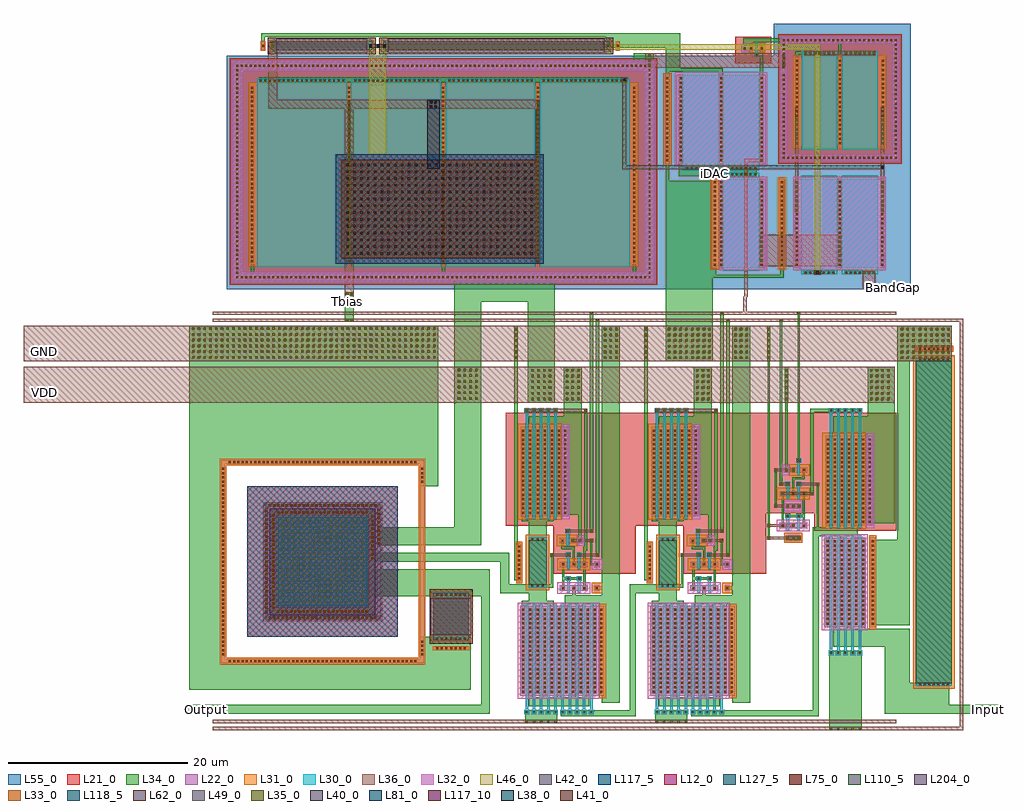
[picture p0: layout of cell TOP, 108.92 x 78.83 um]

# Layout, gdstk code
from math import pi, radians
import gdstk
lib = gdstk.Library(unit=1e-6, precision=1e-09)
def R(c, l, rs):  # rectangles x0, y0, x1, y1
    for r in rs: c.add(gdstk.rectangle(r[:2], r[2:], *l))
def A(c, l, x, y, w, h, nx, ny, dx, dy):  # array of equal rectangles
    R(c, l, [(x+i*dx, y+j*dy, x+i*dx+w, y+j*dy+h) for i in range(nx) for j in range(ny)])
def P(c, l, *ps):  # polygons
    for p in ps: c.add(gdstk.Polygon(p, *l))
L12_0 = (12, 0)
L21_0 = (21, 0)
L22_0 = (22, 0)
L30_0 = (30, 0)
L31_0 = (31, 0)
L32_0 = (32, 0)
L33_0 = (33, 0)
L34_0 = (34, 0)
L35_0 = (35, 0)
L36_0 = (36, 0)
L38_0 = (38, 0)
L40_0 = (40, 0)
L41_0 = (41, 0)
L42_0 = (42, 0)
L46_0 = (46, 0)
L49_0 = (49, 0)
L55_0 = (55, 0)
L62_0 = (62, 0)
L75_0 = (75, 0)
L81_0 = (81, 0)
L110_5 = (110, 5)
L117_5 = (117, 5)
L117_10 = (117, 10)
L118_5 = (118, 5)
L127_5 = (127, 5)
L204_0 = (204, 0)

ppolyf_s_resistor = lib.new_cell('ppolyf_s_resistor')
R(ppolyf_s_resistor, L22_0, [(-1.51,0,-1.15,4)])
R(ppolyf_s_resistor, L30_0, [(-0.29,0,36.29,4)])
R(ppolyf_s_resistor, L31_0, [(-0.59,-0.3,36.59,4.3), (-1.67,-0.16,-0.99,4.16)])
A(ppolyf_s_resistor, L33_0, -1.44, 0.36, 0.22, 0.22, 1, 7, 0, 0.51)
A(ppolyf_s_resistor, L33_0, -0.22, 0.36, 0.22, 0.22, 1, 7, 0, 0.51)
A(ppolyf_s_resistor, L33_0, 36, 0.36, 0.22, 0.22, 1, 7, 0, 0.51)
R(ppolyf_s_resistor, L34_0, [(-1.52,0.28,-1.14,3.72), (-0.3,0.28,0.08,3.72), (35.92,0.28,36.3,3.72)])
R(ppolyf_s_resistor, L110_5, [(0,0,36,4)])

inputbuffer = lib.new_cell('InputBuffer')
R(inputbuffer, L21_0, [(-16.13,7.7,-6.96,9.67), (-21.5,9.67,-6.96,20.87)])
R(inputbuffer, L22_0, [(-14.99,-3.04,-10.36,6.96), (-9.94,-3.04,-9.31,7), (-19.32,6.63,-17.62,7.23), (-20.02,8.01,-16.92,8.61), (-14.92,8.32,-9.62,18.32), (-19.32,10.18,-17.62,10.78), (-20.02,11.56,-16.92,12.16), (-19.53,14.21,-16.93,14.81)])
A(inputbuffer, L30_0, -14.52, -6.14, 0.54, 0.54, 5, 2, 0.8, 27.02)
A(inputbuffer, L30_0, -14.39, -5.6, 0.28, 12.87, 5, 2, 0.8, 13.61)
R(inputbuffer, L30_0, [(-19.24,7.76,-18.94,9.1), (-18.03,7.76,-17.73,9.1), (-19.35,9.1,-18.81,9.64), (-18.14,9.1,-17.6,9.64), (-19.23,11.31,-18.93,12.65), (-18.03,11.31,-17.73,12.65), (-19.35,12.65,-18.81,13.19), (-18.15,12.65,-17.61,13.19), (-18.03,13.96,-17.73,15.3), (-18.14,15.3,-17.6,15.84)])
R(inputbuffer, L31_0, [(-10.02,-3.31,-9.22,7.23), (-19.47,6.36,-17.47,7.5), (-15.24,7.94,-10.34,18.69), (-20.32,11.21,-16.62,12.51), (-18.93,13.86,-16.63,15.16)])
R(inputbuffer, L32_0, [(-15.29,-3.39,-10.18,7.31), (-20.32,7.66,-16.62,8.96), (-10.34,8.005,-9.46,18.615), (-19.47,9.91,-17.47,11.05), (-19.73,13.94,-18.93,15.08)])
A(inputbuffer, L33_0, -14.36, -5.98, 0.22, 0.22, 5, 2, 0.8, 27.02)
A(inputbuffer, L33_0, -14.76, -2.74, 0.22, 0.22, 6, 19, 0.8, 0.51)
A(inputbuffer, L33_0, -9.7, -2.74, 0.22, 0.22, 1, 19, 0, 0.51)
A(inputbuffer, L33_0, -19.2, 6.82, 0.22, 0.22, 3, 2, 0.62, 3.55)
A(inputbuffer, L33_0, -14.76, 8.62, 0.22, 0.22, 6, 19, 0.8, 0.51)
A(inputbuffer, L33_0, -10.06, 8.62, 0.22, 0.22, 1, 19, 0, 0.51)
R(inputbuffer, L33_0, [(-19.77,8.2,-19.55,8.42), (-18.59,8.2,-18.37,8.42), (-17.4,8.2,-17.18,8.42), (-19.19,9.26,-18.97,9.48), (-17.98,9.26,-17.76,9.48), (-19.77,11.75,-19.55,11.97), (-18.59,11.75,-18.37,11.97), (-17.4,11.75,-17.18,11.97), (-19.19,12.81,-18.97,13.03), (-17.99,12.81,-17.77,13.03), (-19.34,14.4,-19.12,14.62), (-18.59,14.4,-18.37,14.62), (-17.4,14.4,-17.18,14.62), (-17.98,15.46,-17.76,15.68)])
A(inputbuffer, L34_0, -14.44, -6.06, 0.38, 0.38, 5, 2, 0.8, 27.02)
A(inputbuffer, L34_0, -14.04, -3.22, 0.38, 0.4, 3, 2, 1.6, 21.32)
A(inputbuffer, L34_0, -14.84, -2.82, 0.38, 9.56, 6, 2, 0.8, 11.36)
A(inputbuffer, L34_0, -19.28, 6.74, 0.38, 0.38, 3, 2, 0.62, 3.55)
A(inputbuffer, L34_0, -14.84, 6.74, 0.38, 0.4, 3, 2, 1.6, 1.4)
R(inputbuffer, L34_0, [(-14.44,-14.53,-10.86,-5.68), (-8.29,-12.7,-5.46,-3.22), (-8.29,-12.7,-1.06,-9.21), (-1.06,-12.7,4.54,-11.7), (-14.44,-6.06,-10.86,-5.68), (-14.04,-5.22,-5.46,-3.22), (-9.78,-2.82,-5.46,6.74), (-9.78,-2.82,-9.4,6.74), (-6.86,-2.82,-5.46,30.63), (-21.4,6.75,-21.02,7.13), (-21.33,6.8,-21.09,30.63), (-15.87,7.14,-15.63,13.04), (-15.87,7.14,-11.26,8.14), (-14.84,7.14,-11.26,8.14), (-21.4,8.12,-21.02,8.5), (-19.85,8.12,-19.47,8.5), (-18.67,8.12,-18.29,8.5), (-17.48,8.12,-17.1,8.5), (-19.78,8.19,-19.54,11.98), (-17.41,8.19,-17.17,11.98), (-10.14,8.54,-9.76,18.1), (-10.14,8.54,-7.14,26.03), (-19.27,9.18,-18.89,9.56), (-18.06,9.18,-17.68,9.56), (-19.2,9.25,-17.17,9.49), (-20.62,10.29,-20.24,10.67), (-20.55,10.34,-20.31,14.63), (-19.85,11.67,-19.47,12.05), (-18.67,11.67,-18.29,12.05), (-17.48,11.67,-17.1,12.05), (-16.59,11.67,-16.21,21.34), (-18.6,11.74,-18.36,13.71), (-20.04,12.73,-19.66,13.11), (-19.97,12.73,-19.73,31.41), (-19.27,12.73,-18.89,13.11), (-18.07,12.73,-17.69,13.11), (-15.94,12.73,-15.56,13.11), (-18.6,13.47,-17.17,13.71), (-17.41,13.47,-17.17,14.63), (-20.62,14.32,-20.24,14.7), (-19.42,14.32,-19.04,14.7), (-19.35,14.32,-19.11,26.03), (-18.67,14.32,-18.29,14.7), (-17.48,14.32,-17.1,14.7), (-18.06,15.38,-17.68,15.76), (-17.99,15.38,-17.75,32.19), (-14.04,18.5,-8.14,20.5), (-21.33,18.92,-21.09,30.63), (-16.59,20.96,-10.86,21.34), (-14.44,20.96,-10.86,21.34), (-19.42,22.03,-19.04,26.03), (-21.4,26.63,-21.02,30.63), (-6.86,26.63,-0.78,30.63), (-20.04,31.03,-19.66,31.41), (-18.06,31.81,-17.68,32.19)])
P(inputbuffer, L34_0, [(-18.6,11.73),(-18.6,11.73),(-18.6,11.73),(-18.6,11.73)])
A(inputbuffer, L35_0, -14.38, -14.47, 0.26, 0.26, 5, 1, 0.8, 0)
A(inputbuffer, L35_0, -19.22, 6.8, 0.26, 0.26, 3, 2, 0.62, 3.55)
A(inputbuffer, L35_0, -19.36, 22.3, 0.26, 0.26, 1, 6, 0, 0.64)
A(inputbuffer, L35_0, -9.91, 22.3, 0.26, 0.26, 3, 6, 0.64, 0.64)
A(inputbuffer, L35_0, -7.98, 22.3, 0.26, 0.26, 1, 6, 0, 0.64)
A(inputbuffer, L35_0, -21.34, 26.9, 0.26, 0.26, 1, 6, 0, 0.64)
A(inputbuffer, L35_0, -6.46, 26.9, 0.26, 0.26, 3, 6, 0.64, 0.64)
A(inputbuffer, L35_0, -4.46, 26.9, 0.26, 0.26, 3, 6, 0.64, 0.64)
A(inputbuffer, L35_0, -2.55, 26.9, 0.26, 0.26, 3, 6, 0.64, 0.64)
R(inputbuffer, L35_0, [(-21.34,6.81,-21.08,7.07), (-21.34,8.18,-21.08,8.44), (-18.61,8.18,-18.35,8.44), (-20.56,10.35,-20.3,10.61), (-19.79,11.73,-19.53,11.99), (-16.53,11.73,-16.27,11.99), (-19.98,12.79,-19.72,13.05), (-19.21,12.79,-18.95,13.05), (-18.01,12.79,-17.75,13.05), (-15.88,12.79,-15.62,13.05), (-20.56,14.38,-20.3,14.64), (-19.36,14.38,-19.1,14.64), (-18.61,14.38,-18.35,14.64), (-18,15.44,-17.74,15.7), (-19.98,31.09,-19.72,31.35), (-18,31.87,-17.74,32.13)])
A(inputbuffer, L36_0, -19.28, 6.74, 0.38, 0.38, 3, 2, 0.62, 3.55)
R(inputbuffer, L36_0, [(-21.5,-14.53,-6.96,-14.15), (-21.5,-13.75,-6.96,-13.37), (-19.28,6.74,-17.66,7.12), (-21.4,6.75,-21.02,7.13), (-21.35,6.79,-17.71,7.07), (-21.4,8.12,-21.02,8.5), (-18.67,8.12,-18.29,8.5), (-21.35,8.17,-18.34,8.45), (-20.62,10.29,-20.24,10.67), (-19.28,10.29,-17.66,10.67), (-20.55,10.34,-17.71,10.62), (-19.85,11.67,-19.47,12.05), (-16.59,11.67,-16.21,12.05), (-19.8,11.72,-16.26,12), (-20.04,12.73,-19.66,13.11), (-19.27,12.73,-18.89,13.11), (-18.07,12.73,-17.69,13.11), (-15.94,12.73,-15.56,13.11), (-20.04,12.78,-18.92,13.06), (-17.99,12.78,-15.63,13.06), (-20.62,14.32,-20.24,14.7), (-19.42,14.32,-19.04,14.7), (-18.67,14.32,-18.29,14.7), (-20.57,14.37,-18.34,14.65), (-18.06,15.38,-17.68,15.76), (-21.5,22.03,-7.14,26.03), (-21.5,26.63,-0.78,30.63), (-21.5,31.03,-6.96,31.41), (-21.5,31.81,-6.96,32.19)])
r = gdstk.Reference(ppolyf_s_resistor, (-0.78,26.71), rotation=3*pi/2, x_reflection=True); r.repetition = gdstk.Repetition(1, 1, v1=(0,0), v2=(0,0)); inputbuffer.add(r)

gainstage = lib.new_cell('GainStage')
R(gainstage, L21_0, [(-0.98,2.93,8.26,8.29), (-6.28,8.29,8.26,20.87)])
R(gainstage, L22_0, [(-4.65,-10.67,4.75,-0.67), (-0.21,1.03,2.89,1.63), (3.62,1.03,4.22,1.63), (-4.93,2.05,-4.57,6.32), (-0.21,3.68,2.89,4.28), (3.62,3.68,4.22,4.28), (-0.29,6.33,2.31,6.93), (-4.58,9.32,0.72,19.32)])
A(gainstage, L30_0, -4.18, -12.77, 0.54, 0.54, 10, 1, 0.8, 0)
A(gainstage, L30_0, -4.05, -12.23, 0.28, 11.87, 10, 1, 0.8, 0)
A(gainstage, L30_0, -4.05, 9.01, 0.28, 11.87, 5, 1, 0.8, 0)
A(gainstage, L30_0, -4.18, 20.88, 0.54, 0.54, 5, 1, 0.8, 0)
R(gainstage, L30_0, [(0.59,0.78,0.89,2.12), (1.8,0.78,2.1,2.12), (-3.71,1.38,-1.71,6.98), (0.46,2.12,1,2.66), (1.67,2.12,2.21,2.66), (0.59,3.43,0.89,4.77), (1.78,3.43,2.08,4.77), (0.46,4.77,1,5.31), (1.65,4.77,2.19,5.31), (0.51,6.08,0.81,7.42), (0.38,7.42,0.92,7.96)])
R(gainstage, L31_0, [(4.16,-10.94,4.96,-0.4), (3.35,0.76,4.49,1.9), (-4.01,1.08,-1.41,7.28), (-5.09,1.89,-4.41,6.48), (-0.51,3.33,3.19,4.63), (-0.59,5.98,1.71,7.28), (-4.9,8.94,0,19.69)])
R(gainstage, L32_0, [(-4.95,-11.02,4.16,-0.32), (-0.51,0.68,3.19,1.98), (3.35,3.4,4.49,4.54), (1.71,6.06,2.51,7.2), (0,9.005,0.88,19.615)])
A(gainstage, L33_0, -4.02, -12.61, 0.22, 0.22, 10, 1, 0.8, 0)
A(gainstage, L33_0, -4.42, -10.37, 0.22, 0.22, 11, 19, 0.8, 0.51)
A(gainstage, L33_0, 4.3, -10.37, 0.22, 0.22, 1, 19, 0, 0.51)
A(gainstage, L33_0, -4.86, 2.29, 0.22, 0.22, 1, 8, 0, 0.51)
A(gainstage, L33_0, -4.42, 9.62, 0.22, 0.22, 6, 19, 0.8, 0.51)
A(gainstage, L33_0, 0.28, 9.62, 0.22, 0.22, 1, 19, 0, 0.51)
A(gainstage, L33_0, -4.02, 21.04, 0.22, 0.22, 5, 1, 0.8, 0)
R(gainstage, L33_0, [(0.04,1.22,0.26,1.44), (1.23,1.22,1.45,1.44), (2.41,1.22,2.63,1.44), (3.81,1.22,4.03,1.44), (-3.42,1.46,-3.2,1.68), (-2.82,1.46,-2.6,1.68), (-2.82,1.46,-2.6,1.68), (-2.22,1.46,-2,1.68), (0.62,2.28,0.84,2.5), (1.83,2.28,2.05,2.5), (0.04,3.87,0.26,4.09), (1.23,3.87,1.45,4.09), (2.41,3.87,2.63,4.09), (3.81,3.87,4.03,4.09), (0.62,4.93,0.84,5.15), (1.81,4.93,2.03,5.15), (-0.04,6.52,0.18,6.74), (1.15,6.52,1.37,6.74), (1.9,6.52,2.12,6.74), (-3.42,6.68,-3.2,6.9), (-2.82,6.68,-2.6,6.9), (-2.82,6.68,-2.6,6.9), (-2.22,6.68,-2,6.9), (0.54,7.58,0.76,7.8)])
A(gainstage, L34_0, -4.1, -12.69, 0.38, 0.38, 10, 1, 0.8, 0)
A(gainstage, L34_0, -3.7, -10.85, 0.38, 0.4, 5, 1, 1.6, 0)
A(gainstage, L34_0, -4.5, -10.45, 0.38, 9.56, 11, 1, 0.8, 0)
A(gainstage, L34_0, -4.5, -0.89, 0.38, 0.4, 6, 1, 1.6, 0)
A(gainstage, L34_0, -4.5, 9.14, 0.38, 0.4, 3, 1, 1.6, 0)
A(gainstage, L34_0, -4.5, 9.54, 0.38, 9.56, 6, 1, 0.8, 0)
A(gainstage, L34_0, -3.7, 19.1, 0.38, 0.4, 3, 1, 1.6, 0)
A(gainstage, L34_0, -4.1, 20.96, 0.38, 0.38, 5, 1, 0.8, 0)
R(gainstage, L34_0, [(-4.1,-13.75,-0.52,-12.31), (-0.1,-12.99,8.26,-12.31), (-4.1,-12.69,-0.52,-12.31), (-0.1,-12.69,3.48,-12.31), (-3.7,-11.85,3.08,-10.85), (4.46,-11.47,6.46,30.63), (4.22,-10.45,4.6,-0.89), (4.22,-0.89,4.6,-0.49), (-4.5,-0.49,-0.92,-0.11), (-3.71,-0.49,-1.71,1.76), (0.3,-0.49,6.46,0.51), (1.15,0.07,1.53,1.52), (-6.28,0.76,-1.71,1.76), (-0.04,1.14,0.34,1.52), (1.15,1.14,1.53,1.52), (2.33,1.14,2.71,1.52), (3.73,1.14,4.11,1.52), (3.73,1.14,6.46,1.52), (0.03,1.21,0.27,4.1), (2.4,1.21,2.64,4.1), (-3.71,1.38,-0.98,1.76), (-1.22,1.38,-0.98,5.16), (2.4,1.52,2.64,3.79), (0.54,2.2,0.92,2.58), (1.75,2.2,2.13,2.58), (-5.32,2.21,-4.94,30.63), (-4.94,2.21,-4.56,6.16), (0.03,2.27,2.06,2.51), (-0.04,3.79,0.34,4.17), (1.15,3.79,1.53,4.17), (2.33,3.79,2.71,4.17), (3.73,3.79,4.11,4.17), (1.22,3.85,1.46,5.93), (2.4,3.85,2.64,5.93), (3.17,3.86,3.41,6.75), (3.17,3.86,4.04,4.1), (-1.29,4.84,-0.91,5.22), (0.54,4.85,0.92,5.23), (1.73,4.85,2.11,5.23), (3.8,4.85,4.18,31.41), (2.48,5.48,2.86,21.34), (-0.05,5.69,1.46,5.93), (-0.05,5.69,0.19,6.75), (-0.12,6.44,0.26,6.82), (1.07,6.44,1.45,6.82), (1.82,6.44,2.2,9.68), (1.82,6.44,2.2,6.82), (3.1,6.44,3.48,6.82), (-3.71,6.6,-1.71,9.14), (0.46,7.5,0.84,7.88), (3.14,7.5,3.52,32.19), (-4.5,8.76,-0.92,9.14), (0.2,9.54,2.2,26.03), (0.2,9.54,0.58,19.1), (-3.7,19.5,2.2,20.5), (-4.1,20.96,-0.52,21.34)])
P(gainstage, L34_0, [(1.46,3.85),(1.46,3.85),(1.46,3.85),(1.46,3.85)])
A(gainstage, L35_0, -4.04, -13.69, 0.26, 0.26, 5, 2, 0.8, 34.71)
A(gainstage, L35_0, 0.43, 22.3, 0.26, 0.26, 3, 6, 0.64, 0.64)
A(gainstage, L35_0, -5.26, 26.9, 0.26, 0.26, 1, 6, 0, 0.64)
A(gainstage, L35_0, 4.69, 26.9, 0.26, 0.26, 3, 6, 0.64, 0.64)
R(gainstage, L35_0, [(-1.23,4.91,-0.97,5.17), (0.6,4.91,0.86,5.17), (1.79,4.91,2.05,5.17), (3.86,4.91,4.12,5.17), (1.13,6.5,1.39,6.76), (1.88,6.5,2.14,6.76), (3.16,6.5,3.42,6.76), (0.52,7.56,0.78,7.82), (3.2,7.56,3.46,7.82), (2.54,21.02,2.8,21.28), (3.86,31.09,4.12,31.35), (3.2,31.87,3.46,32.13)])
R(gainstage, L36_0, [(-6.28,-14.53,8.26,-14.15), (-6.28,-13.75,8.26,-13.37), (-1.29,4.84,-0.91,5.22), (0.54,4.85,0.92,5.23), (1.73,4.85,2.11,5.23), (3.8,4.85,4.18,5.23), (-1.21,4.9,0.84,5.18), (1.78,4.9,4.13,5.18), (1.07,6.44,1.45,6.82), (1.82,6.44,2.2,6.82), (3.1,6.44,3.48,6.82), (1.12,6.49,3.43,6.77), (0.46,7.5,0.84,7.88), (3.14,7.5,3.52,7.88), (0.59,7.55,3.47,7.83), (-4.1,20.96,2.86,21.34), (-6.28,22.03,8.26,26.03), (-6.28,26.63,8.26,30.63), (-6.28,31.03,8.26,31.41), (-6.28,31.81,8.26,32.19)])
R(gainstage, L110_5, [(-3.71,1.68,-1.71,6.68), (-3.71,1.68,-1.71,6.68)])

npn_10p00x10p00_0 = lib.new_cell('npn_10p00x10p00_0')
R(npn_10p00x10p00_0, L12_0, [(-3.4,-3.4,13.4,13.4)])
R(npn_10p00x10p00_0, L22_0, [(0,0,10,10)])
P(npn_10p00x10p00_0, L22_0, [(-6.32,-6.32),(-6.32,16.32),(15.9,16.32),(15.9,15.9),(-5.9,15.9),(-5.9,-5.9),(15.9,-5.9),(15.9,16.32),(16.32,16.32),(16.32,-6.32)],
  [(-0.74,-0.74),(-0.74,10.74),(10.32,10.74),(10.32,10.32),(-0.32,10.32),(-0.32,-0.32),(10.32,-0.32),(10.32,10.74),(10.74,10.74),(10.74,-0.74)],
  [(-1.48,-1.48),(-1.48,11.48),(11.06,11.48),(11.06,11.06),(-1.06,11.06),(-1.06,-1.06),(11.06,-1.06),(11.06,11.48),(11.48,11.48),(11.48,-1.48)])
P(npn_10p00x10p00_0, L31_0, [(-6.48,-6.48),(-6.48,16.48),(15.74,16.48),(15.74,15.74),(-5.74,15.74),(-5.74,-5.74),(15.74,-5.74),(15.74,16.48),(16.48,16.48),(16.48,-6.48)],
  [(-0.9,-0.9),(-0.9,10.9),(10.16,10.9),(10.16,10.16),(-0.16,10.16),(-0.16,-0.16),(10.16,-0.16),(10.16,10.9),(10.9,10.9),(10.9,-0.9)])
R(npn_10p00x10p00_0, L32_0, [(-0.16,-0.16,10.16,10.16)])
P(npn_10p00x10p00_0, L32_0, [(-1.64,-1.64),(-1.64,11.64),(10.9,11.64),(10.9,10.9),(-0.9,10.9),(-0.9,-0.9),(10.9,-0.9),(10.9,11.64),(11.64,11.64),(11.64,-1.64)])
A(npn_10p00x10p00_0, L33_0, -5.45, -6.22, 0.22, 0.22, 4, 1, 0.47, 0)
A(npn_10p00x10p00_0, L33_0, 13.82, -6.22, 0.22, 0.22, 4, 1, 0.47, 0)
A(npn_10p00x10p00_0, L33_0, -6.22, -5.45, 0.22, 0.22, 1, 45, 0, 0.47)
A(npn_10p00x10p00_0, L33_0, 16, -5.45, 0.22, 0.22, 1, 45, 0, 0.47)
A(npn_10p00x10p00_0, L33_0, -1.38, -0.985, 0.22, 0.22, 1, 26, 0, 0.47)
A(npn_10p00x10p00_0, L33_0, 11.16, -0.985, 0.22, 0.22, 1, 26, 0, 0.47)
A(npn_10p00x10p00_0, L33_0, -0.64, -0.045, 0.22, 0.22, 1, 22, 0, 0.47)
A(npn_10p00x10p00_0, L33_0, 10.42, -0.045, 0.22, 0.22, 1, 22, 0, 0.47)
A(npn_10p00x10p00_0, L33_0, 0.39, 0.39, 0.22, 0.22, 16, 16, 0.6, 0.6)
A(npn_10p00x10p00_0, L33_0, -0.28, 10.42, 0.22, 0.22, 23, 1, 0.47, 0)
A(npn_10p00x10p00_0, L33_0, -0.75, 11.16, 0.22, 0.22, 25, 1, 0.47, 0)
A(npn_10p00x10p00_0, L33_0, -5.45, 16, 0.22, 0.22, 45, 1, 0.47, 0)
R(npn_10p00x10p00_0, L34_0, [(-6.32,-6.32,-5.9,16.32), (-6.32,-6.32,-3.4,-5.9), (13.4,-6.32,16.32,-5.9), (15.9,-6.32,16.32,16.32), (-1.48,-1.48,-1.06,11.48), (11.06,-1.48,11.48,11.48), (-0.74,-0.74,-0.32,10.74), (10.32,-0.74,10.74,10.74), (0,0,10,10), (0,0,10,10), (-0.74,10.32,10.74,10.74), (-1.48,11.06,11.48,11.48), (-6.32,15.9,16.32,16.32)])
P(npn_10p00x10p00_0, L34_0, [(-6.32,-6.32),(-6.32,16.32),(15.9,16.32),(15.9,15.9),(-5.9,15.9),(-5.9,-5.9),(-3.4,-5.9),(-3.4,-6.32)],
  [(13.4,-6.32),(13.4,-5.9),(15.9,-5.9),(15.9,16.32),(16.32,16.32),(16.32,-6.32)],
  [(-0.74,-0.74),(-0.74,10.74),(10.74,10.74),(10.74,-0.74),(10.32,-0.74),(10.32,10.32),(-0.32,10.32),(-0.32,-0.74)],
  [(-1.48,-1.48),(-1.48,11.48),(11.48,11.48),(11.48,-1.48),(11.06,-1.48),(11.06,11.06),(-1.06,11.06),(-1.06,-1.48)])
R(npn_10p00x10p00_0, L118_5, [(0,0,10,10)])
R(npn_10p00x10p00_0, L127_5, [(-3.4,-3.4,13.4,13.4)])
R(npn_10p00x10p00_0, L204_0, [(-0.9,-0.9,10.9,10.9)])
npn_10p00x10p00_0.add(gdstk.Label('E', (5.005,4.995), layer=34, texttype=0))
npn_10p00x10p00_0.add(gdstk.Label('B', (-0.515,-0.485), layer=34, texttype=0))
npn_10p00x10p00_0.add(gdstk.Label('B', (10.525,-0.495), layer=34, texttype=0))
npn_10p00x10p00_0.add(gdstk.Label('B', (10.55,10.54), layer=34, texttype=0))
npn_10p00x10p00_0.add(gdstk.Label('C', (-1.255,11.26), layer=34, texttype=0))
npn_10p00x10p00_0.add(gdstk.Label('C', (11.27,-1.235), layer=34, texttype=0))
npn_10p00x10p00_0.add(gdstk.Label('C', (11.285,11.285), layer=34, texttype=0))
npn_10p00x10p00_0.add(gdstk.Label('S', (16.105,16.105), layer=34, texttype=0))
npn_10p00x10p00_0.add(gdstk.Label('S', (16.07,-6.095), layer=34, texttype=0))
npn_10p00x10p00_0.add(gdstk.Label('S', (16.07,-6.095), layer=34, texttype=0))
npn_10p00x10p00_0.add(gdstk.Label('S', (-6.095,-6.055), layer=34, texttype=0))
npn_10p00x10p00_0.add(gdstk.Label('S', (-6.095,-6.055), layer=34, texttype=0))

npn_10p00x10p00 = lib.new_cell('npn_10p00x10p00')
npn_10p00x10p00.add(gdstk.Reference(npn_10p00x10p00_0, (6.6,6.6)))
npn_10p00x10p00.add(gdstk.Label('I1_default_E', (6.625,6.625), layer=34, texttype=10))
npn_10p00x10p00.add(gdstk.Label('I1_default_S', (0.305,22.525), layer=34, texttype=10))
npn_10p00x10p00.add(gdstk.Label('I1_default_S', (22.525,0.305), layer=34, texttype=10))
npn_10p00x10p00.add(gdstk.Label('I1_default_S', (20.025,0.305), layer=34, texttype=10))
npn_10p00x10p00.add(gdstk.Label('I1_default_S', (0.305,0.305), layer=34, texttype=10))
npn_10p00x10p00.add(gdstk.Label('I1_default_S', (0.305,0.305), layer=34, texttype=10))
npn_10p00x10p00.add(gdstk.Label('I1_default_C', (5.145,5.145), layer=34, texttype=10))
npn_10p00x10p00.add(gdstk.Label('I1_default_C', (17.685,5.145), layer=34, texttype=10))
npn_10p00x10p00.add(gdstk.Label('I1_default_C', (5.145,17.685), layer=34, texttype=10))
npn_10p00x10p00.add(gdstk.Label('I1_default_B', (5.885,5.885), layer=34, texttype=10))
npn_10p00x10p00.add(gdstk.Label('I1_default_B', (16.945,5.885), layer=34, texttype=10))
npn_10p00x10p00.add(gdstk.Label('I1_default_B', (5.885,16.945), layer=34, texttype=10))

npn_bjt = lib.new_cell('npn_bjt')
npn_bjt.add(gdstk.Reference(npn_10p00x10p00, (0,0)))

ppolyf_u_high_rs_resisto = lib.new_cell('ppolyf_u_high_Rs_resistor')
R(ppolyf_u_high_rs_resisto, L22_0, [(-1.76,0,-1.34,4)])
R(ppolyf_u_high_rs_resisto, L30_0, [(-0.64,0,4.64,4)])
R(ppolyf_u_high_rs_resisto, L31_0, [(-0.82,-0.18,0,4.18), (4,-0.18,4.82,4.18), (-1.78,-0.02,-1.32,4.02)])
A(ppolyf_u_high_rs_resisto, L33_0, -1.66, 0.36, 0.22, 0.22, 1, 7, 0, 0.51)
A(ppolyf_u_high_rs_resisto, L33_0, -0.57, 0.36, 0.22, 0.22, 1, 7, 0, 0.51)
A(ppolyf_u_high_rs_resisto, L33_0, 4.35, 0.36, 0.22, 0.22, 1, 7, 0, 0.51)
R(ppolyf_u_high_rs_resisto, L34_0, [(-1.74,0.28,-1.36,3.72), (-0.65,0.28,-0.27,3.72), (4.27,0.28,4.65,3.72)])
R(ppolyf_u_high_rs_resisto, L49_0, [(-0.1,-0.28,4.1,4.28)])
R(ppolyf_u_high_rs_resisto, L62_0, [(-1.04,-0.4,5.04,4.4)])
R(ppolyf_u_high_rs_resisto, L110_5, [(0,0,4,4)])

outputbuffer = lib.new_cell('OutputBuffer')
A(outputbuffer, L33_0, 2.68, 15.28, 0.22, 0.22, 1, 11, 0, 0.47)
A(outputbuffer, L33_0, 3.42, 16.96, 0.22, 0.22, 1, 9, 0, 0.47)
R(outputbuffer, L34_0, [(-17.87,-1.95,15.94,-0.95), (14.94,-1.95,15.94,14.17), (-17.64,0.71,13.77,3.71), (-17.64,3.71,-13.64,41.38), (8.16,3.71,13.77,6.63), (1,11.17,15.94,14.17), (2.58,15.02,15.94,16.02), (2.58,15.03,3,20.77), (3.32,16.88,14.94,18.88), (3.33,16.88,3.74,21.51), (11.94,16.88,14.94,36.78), (8.16,23.43,10.16,41.38), (-14.06,25.94,8.58,41.38)])
A(outputbuffer, L35_0, 12.36, 33.1, 0.26, 0.26, 4, 6, 0.64, 0.64)
A(outputbuffer, L35_0, -17.3, 37.7, 0.26, 0.26, 43, 6, 0.64, 0.64)
R(outputbuffer, L36_0, [(-15,-3.78,15.94,-3.4), (-15,-3,15.94,-2.62), (-17.64,32.78,15.94,36.78), (-17.64,37.38,15.94,41.38), (-15,41.78,15.94,42.16), (-15,42.56,15.94,42.94)])
r = gdstk.Reference(npn_bjt, (8.86,26.63), rotation=3*pi/2, x_reflection=True); r.repetition = gdstk.Repetition(1, 1, v1=(0,0), v2=(0,0)); outputbuffer.add(r)
r = gdstk.Reference(ppolyf_u_high_rs_resisto, (13.59,6.9), rotation=pi/2); r.repetition = gdstk.Repetition(1, 1, v1=(0,0), v2=(0,0)); outputbuffer.add(r)

pfet = lib.new_cell('pfet')
R(pfet, L21_0, [(-1.24,-0.91,43.42,21.29)])
R(pfet, L22_0, [(-0.46,0,42.64,20)])
A(pfet, L30_0, 0.31, -0.3, 10, 20.98, 4, 1, 10.52, 0)
R(pfet, L31_0, [(-0.63,-0.24,42.81,20.24)])
A(pfet, L33_0, -0.34, 0.2, 0.22, 0.22, 1, 39, 0, 0.51)
A(pfet, L33_0, 10.46, 0.2, 0.22, 0.22, 3, 39, 10.52, 0.51)
A(pfet, L33_0, 42.3, 0.2, 0.22, 0.22, 1, 39, 0, 0.51)
A(pfet, L33_0, 0.61, 20.38, 0.22, 0.22, 19, 1, 0.51, 0)
A(pfet, L33_0, 11.13, 20.38, 0.22, 0.22, 19, 1, 0.51, 0)
A(pfet, L33_0, 21.65, 20.38, 0.22, 0.22, 19, 1, 0.51, 0)
A(pfet, L33_0, 32.17, 20.38, 0.22, 0.22, 19, 1, 0.51, 0)
A(pfet, L34_0, 10.38, 0.12, 0.38, 19.76, 3, 1, 10.52, 0)
A(pfet, L34_0, 0.53, 20.3, 9.56, 0.38, 4, 1, 10.52, 0)
R(pfet, L34_0, [(-0.42,0.12,-0.04,19.88), (42.22,0.12,42.6,19.88)])
R(pfet, L55_0, [(-1.74,-1.41,43.92,21.79)])

nfet = lib.new_cell('nfet')
R(nfet, L22_0, [(-0.42,0,9.56,10)])
R(nfet, L30_0, [(0.31,-0.66,4.31,10.3), (4.83,-0.66,8.83,10.3)])
R(nfet, L32_0, [(-0.59,-0.24,9.73,10.24)])
A(nfet, L33_0, 0.67, -0.59, 0.22, 0.22, 7, 1, 0.51, 0)
A(nfet, L33_0, 5.19, -0.59, 0.22, 0.22, 7, 1, 0.51, 0)
A(nfet, L33_0, -0.32, 0.3, 0.22, 0.22, 3, 19, 4.78, 0.51)
A(nfet, L34_0, -0.4, 0.22, 0.38, 9.56, 3, 1, 4.78, 0)
R(nfet, L34_0, [(0.59,-0.67,4.03,-0.29), (5.11,-0.67,8.55,-0.29)])
R(nfet, L55_0, [(-0.84,-1.08,9.98,10.71)])

c_ppolyf_u_high_rs_resisto = lib.new_cell('ppolyf_u_high_Rs_resistor$1')
R(c_ppolyf_u_high_rs_resisto, L22_0, [(-1.76,0,-1.34,1)])
R(c_ppolyf_u_high_rs_resisto, L30_0, [(-0.64,0,10.64,1)])
R(c_ppolyf_u_high_rs_resisto, L31_0, [(-0.82,-0.18,0,1.18), (10,-0.18,10.82,1.18), (-1.78,-0.02,-1.32,1.02)])
R(c_ppolyf_u_high_rs_resisto, L33_0, [(-1.66,0.39,-1.44,0.61), (-0.57,0.39,-0.35,0.61), (10.35,0.39,10.57,0.61)])
R(c_ppolyf_u_high_rs_resisto, L34_0, [(-1.74,0.31,-1.36,0.69), (-0.65,0.31,-0.27,0.69), (10.27,0.31,10.65,0.69)])
R(c_ppolyf_u_high_rs_resisto, L49_0, [(-0.1,-0.28,10.1,1.28)])
R(c_ppolyf_u_high_rs_resisto, L62_0, [(-1.04,-0.4,11.04,1.4)])
R(c_ppolyf_u_high_rs_resisto, L110_5, [(0,0,10,1)])

c_ppolyf_u_high_rs_resisto_ = lib.new_cell('ppolyf_u_high_Rs_resistor$2')
R(c_ppolyf_u_high_rs_resisto_, L22_0, [(-1.76,0,-1.34,1)])
R(c_ppolyf_u_high_rs_resisto_, L30_0, [(-0.64,0,24.64,1)])
R(c_ppolyf_u_high_rs_resisto_, L31_0, [(-0.82,-0.18,0,1.18), (24,-0.18,24.82,1.18), (-1.78,-0.02,-1.32,1.02)])
R(c_ppolyf_u_high_rs_resisto_, L33_0, [(-1.66,0.39,-1.44,0.61), (-0.57,0.39,-0.35,0.61), (24.35,0.39,24.57,0.61)])
R(c_ppolyf_u_high_rs_resisto_, L34_0, [(-1.74,0.31,-1.36,0.69), (-0.65,0.31,-0.27,0.69), (24.27,0.31,24.65,0.69)])
R(c_ppolyf_u_high_rs_resisto_, L49_0, [(-0.1,-0.28,24.1,1.28)])
R(c_ppolyf_u_high_rs_resisto_, L62_0, [(-1.04,-0.4,25.04,1.4)])
R(c_ppolyf_u_high_rs_resisto_, L110_5, [(0,0,24,1)])

pfet_2 = lib.new_cell('pfet$2')
R(pfet_2, L21_0, [(-1.32,-0.99,2.73,1.97)])
R(pfet_2, L22_0, [(-0.46,0,1.87,0.6)])
P(pfet_2, L30_0, [(0.19,-0.3),(0.19,0.9),(0.15,0.9),(0.15,1.28),(0.53,1.28),(0.53,0.9),(0.49,0.9),(0.49,-0.3)])
R(pfet_2, L31_0, [(-0.63,-0.24,1.14,0.84)])
R(pfet_2, L32_0, [(1.14,-0.17,2.04,0.77)])
R(pfet_2, L33_0, [(-0.34,0.19,-0.12,0.41), (0.8,0.19,1.02,0.41), (1.53,0.19,1.75,0.41), (0.23,0.98,0.45,1.2)])
R(pfet_2, L34_0, [(-0.42,0.11,-0.04,0.49), (0.72,0.11,1.1,0.49), (1.45,0.11,1.83,0.49), (0.15,0.9,0.53,1.28)])

cap_mim = lib.new_cell('cap_mim')
A(cap_mim, L40_0, 0.61, 0.43, 0.26, 0.26, 28, 14, 0.76, 0.76)
R(cap_mim, L42_0, [(-0.6,-0.6,22.6,11.6)])
R(cap_mim, L46_0, [(0,0,22,11)])
R(cap_mim, L75_0, [(0,0,22,11)])
R(cap_mim, L117_5, [(-0.6,-0.6,22.6,11.6)])
R(cap_mim, L117_10, [(0,0,22,0.1)])

pfet_1 = lib.new_cell('pfet$1')
R(pfet_1, L21_0, [(-1.24,-0.91,10.38,11.29)])
R(pfet_1, L22_0, [(-0.46,0,9.6,10)])
R(pfet_1, L30_0, [(0.31,-0.3,4.31,10.68), (4.83,-0.3,8.83,10.68)])
R(pfet_1, L31_0, [(-0.63,-0.24,9.77,10.24)])
A(pfet_1, L33_0, -0.34, 0.3, 0.22, 0.22, 3, 19, 4.8, 0.51)
A(pfet_1, L33_0, 0.67, 10.38, 0.22, 0.22, 7, 1, 0.51, 0)
A(pfet_1, L33_0, 5.19, 10.38, 0.22, 0.22, 7, 1, 0.51, 0)
A(pfet_1, L34_0, -0.42, 0.22, 0.38, 9.56, 3, 1, 4.8, 0)
R(pfet_1, L34_0, [(0.59,10.3,4.03,10.68), (5.11,10.3,8.55,10.68)])
R(pfet_1, L55_0, [(-1.74,-1.41,10.88,11.79)])

reference = lib.new_cell('Reference')
R(reference, L21_0, [(0.5,0.5,48.2,25.78), (61.695,14.03,75.475,28.43)])
R(reference, L22_0, [(61.8,2.31,62.43,12.35), (54.3,2.34,60.33,12.34), (49.03,13.95,49.66,23.99), (50.35,13.96,60.33,23.96)])
P(reference, L22_0, [(62.1,14.43),(62.1,27.57),(62.56,27.57),(62.56,14.89),(74.62,14.89),(74.62,27.57),(62.1,27.57),(62.1,28.03),(75.08,28.03),(75.08,14.43)],
  [(0.9,0.9),(0.9,24.48),(1.8,24.48),(1.8,1.8),(46.9,1.8),(46.9,24.48),(0.9,24.48),(0.9,25.38),(47.8,25.38),(47.8,0.9)])
R(reference, L30_0, [(55.6,2.04,59.6,13), (51.08,13.3,55.08,24.26), (55.6,13.3,59.6,24.26)])
R(reference, L31_0, [(54.13,2.17,55.11,12.51), (61.64,2.17,62.62,12.51), (48.87,13.79,49.85,24.13)])
R(reference, L32_0, [(55.11,2.1,60.5,12.58), (50.18,13.72,60.5,24.2)])
P(reference, L32_0, [(61.94,14.27),(61.94,27.41),(62.72,27.41),(62.72,15.05),(74.46,15.05),(74.46,27.41),(61.94,27.41),(61.94,28.19),(75.24,28.19),(75.24,14.27)],
  [(0.74,0.74),(0.74,24.32),(1.96,24.32),(1.96,1.96),(46.74,1.96),(46.74,24.32),(0.74,24.32),(0.74,25.54),(47.96,25.54),(47.96,0.74)])
A(reference, L33_0, 1.24, 1.24, 0.22, 0.22, 93, 2, 0.5, 23.58)
A(reference, L33_0, 1.24, 2.245, 0.22, 0.22, 1, 3, 0, 0.5)
A(reference, L33_0, 47.24, 2.245, 0.22, 0.22, 1, 3, 0, 0.5)
A(reference, L33_0, 54.5, 2.64, 0.22, 0.22, 1, 19, 0, 0.51)
A(reference, L33_0, 55.23, 2.64, 0.22, 0.22, 1, 19, 0, 0.51)
A(reference, L33_0, 59.75, 2.64, 0.22, 0.22, 1, 19, 0, 0.51)
A(reference, L33_0, 62.01, 2.64, 0.22, 0.22, 1, 19, 0, 0.51)
A(reference, L33_0, 1.24, 3.75, 0.22, 0.22, 1, 3, 0, 0.5)
A(reference, L33_0, 47.24, 3.75, 0.22, 0.22, 1, 3, 0, 0.5)
A(reference, L33_0, 1.24, 5.255, 0.22, 0.22, 1, 3, 0, 0.5)
A(reference, L33_0, 47.24, 5.255, 0.22, 0.22, 1, 3, 0, 0.5)
A(reference, L33_0, 1.24, 6.76, 0.22, 0.22, 1, 3, 0, 0.5)
A(reference, L33_0, 47.24, 6.76, 0.22, 0.22, 1, 3, 0, 0.5)
A(reference, L33_0, 1.24, 8.265, 0.22, 0.22, 1, 3, 0, 0.5)
A(reference, L33_0, 47.24, 8.265, 0.22, 0.22, 1, 3, 0, 0.5)
A(reference, L33_0, 1.24, 9.77, 0.22, 0.22, 1, 3, 0, 0.5)
A(reference, L33_0, 47.24, 9.77, 0.22, 0.22, 1, 3, 0, 0.5)
A(reference, L33_0, 1.24, 11.275, 0.22, 0.22, 1, 3, 0, 0.5)
A(reference, L33_0, 47.24, 11.275, 0.22, 0.22, 1, 3, 0, 0.5)
A(reference, L33_0, 55.96, 12.71, 0.22, 0.22, 5, 2, 0.51, 0.66)
A(reference, L33_0, 51.44, 13.37, 0.22, 0.22, 5, 1, 0.51, 0)
A(reference, L33_0, 1.24, 13.785, 0.22, 0.22, 1, 3, 0, 0.5)
A(reference, L33_0, 47.24, 13.785, 0.22, 0.22, 1, 3, 0, 0.5)
A(reference, L33_0, 49.24, 14.26, 0.22, 0.22, 1, 19, 0, 0.51)
A(reference, L33_0, 50.71, 14.26, 0.22, 0.22, 3, 19, 4.52, 0.51)
A(reference, L33_0, 62.215, 14.55, 0.22, 0.22, 4, 2, 0.5, 13.14)
A(reference, L33_0, 64.22, 14.55, 0.22, 0.22, 6, 2, 0.5, 13.14)
A(reference, L33_0, 67.225, 14.55, 0.22, 0.22, 6, 2, 0.5, 13.14)
A(reference, L33_0, 70.23, 14.55, 0.22, 0.22, 6, 2, 0.5, 13.14)
A(reference, L33_0, 73.235, 14.55, 0.22, 0.22, 4, 2, 0.5, 13.14)
A(reference, L33_0, 62.215, 15.055, 0.22, 0.22, 1, 6, 0, 0.505)
A(reference, L33_0, 74.735, 15.055, 0.22, 0.22, 1, 6, 0, 0.505)
A(reference, L33_0, 1.24, 15.29, 0.22, 0.22, 1, 3, 0, 0.5)
A(reference, L33_0, 47.24, 15.29, 0.22, 0.22, 1, 3, 0, 0.5)
A(reference, L33_0, 1.24, 16.795, 0.22, 0.22, 1, 3, 0, 0.5)
A(reference, L33_0, 47.24, 16.795, 0.22, 0.22, 1, 3, 0, 0.5)
A(reference, L33_0, 62.215, 18.09, 0.22, 0.22, 1, 8, 0, 0.505)
A(reference, L33_0, 74.735, 18.09, 0.22, 0.22, 1, 13, 0, 0.505)
A(reference, L33_0, 1.24, 18.3, 0.22, 0.22, 1, 3, 0, 0.5)
A(reference, L33_0, 47.24, 18.3, 0.22, 0.22, 1, 3, 0, 0.5)
A(reference, L33_0, 1.24, 19.805, 0.22, 0.22, 1, 3, 0, 0.5)
A(reference, L33_0, 47.24, 19.805, 0.22, 0.22, 1, 3, 0, 0.5)
A(reference, L33_0, 1.24, 21.31, 0.22, 0.22, 1, 3, 0, 0.5)
A(reference, L33_0, 47.24, 21.31, 0.22, 0.22, 1, 3, 0, 0.5)
A(reference, L33_0, 62.215, 22.28, 0.22, 0.22, 1, 4, 0, 0.505)
A(reference, L33_0, 1.24, 22.815, 0.22, 0.22, 1, 3, 0, 0.5)
A(reference, L33_0, 47.24, 22.815, 0.22, 0.22, 1, 3, 0, 0.5)
A(reference, L33_0, 62.215, 24.66, 0.22, 0.22, 1, 6, 0, 0.505)
A(reference, L33_0, 74.735, 24.66, 0.22, 0.22, 1, 6, 0, 0.505)
R(reference, L33_0, [(1.24,1.74,1.46,1.96), (47.24,1.74,47.46,1.96), (58,12.71,58.22,12.93), (58.51,12.71,58.73,12.93), (58.51,12.71,58.73,12.93), (59.02,12.71,59.24,12.93), (59.02,12.71,59.24,12.93), (1.24,12.78,1.46,13), (47.24,12.78,47.46,13), (1.24,13.28,1.46,13.5), (47.24,13.28,47.46,13.5), (53.48,13.37,53.7,13.59), (53.99,13.37,54.21,13.59), (53.99,13.37,54.21,13.59), (54.5,13.37,54.72,13.59), (54.5,13.37,54.72,13.59), (58,13.37,58.22,13.59), (58.51,13.37,58.73,13.59), (58.51,13.37,58.73,13.59), (59.02,13.37,59.24,13.59), (59.02,13.37,59.24,13.59), (1.24,24.32,1.46,24.54), (47.24,24.32,47.46,24.54)])
A(reference, L34_0, 2.84, 0.9, 0.38, 3.02, 3, 1, 21.32, 0)
A(reference, L34_0, 50.63, 14.18, 0.38, 9.56, 3, 1, 4.52, 0)
R(reference, L34_0, [(54.42,1.26,54.8,2.56), (54.42,1.26,62.31,1.64), (61.93,1.26,62.31,2.56), (49.16,2.56,55.53,12.12), (54.42,2.56,54.8,12.12), (54.8,2.56,55.15,12.12), (55.15,2.56,55.53,12.12), (59.67,2.56,60.05,12.12), (61.93,2.56,62.31,12.12), (49.16,12.12,49.54,14.18), (50.63,12.63,51.36,13.67), (50.63,12.63,51.01,14.18), (51.36,12.63,55.88,13.29), (55.88,12.63,59.32,13.01), (55.88,13.01,59.32,13.29), (51.36,13.29,54.8,13.67), (54.8,13.29,55.88,13.67), (55.88,13.29,59.32,13.67), (49.16,14.18,49.54,23.74), (3.79,23.1,44.91,23.64), (49.16,23.74,49.54,24.64), (55.15,23.74,55.53,24.64), (59.67,23.74,60.05,27.1), (49.16,24.26,55.53,24.64), (45.61,24.48,47.8,26.31), (49.16,24.64,50.76,28.56), (68.395,24.67,68.775,28.03), (63.595,25.67,63.975,26.57), (59.1,25.93,60.05,26.31), (63.595,26.19,64.615,26.57), (57.8,26.72,58.91,28.03), (4.03,26.96,4.41,28.56), (42.52,26.96,43.99,28.56), (43.99,26.96,50.76,28.56), (57.8,27.57,62.1,28.03), (4.05,28.18,43.99,28.56)])
P(reference, L34_0, [(62.1,14.43),(62.1,27.57),(62.56,27.57),(62.56,14.89),(74.62,14.89),(74.62,27.57),(62.1,27.57),(62.1,28.03),(75.08,28.03),(75.08,14.43)],
  [(0.9,0.9),(0.9,24.48),(1.8,24.48),(1.8,1.8),(46.9,1.8),(46.9,24.48),(0.9,24.48),(0.9,25.38),(47.8,25.38),(47.8,0.9)])
A(reference, L35_0, 71.2, 1.73, 0.26, 0.26, 3, 1, 0.52, 0)
A(reference, L35_0, 59.73, 3.08, 0.26, 0.26, 1, 6, 0, 0.52)
A(reference, L35_0, 68.44, 3.08, 0.26, 0.26, 1, 6, 0, 0.52)
A(reference, L35_0, 13.7, 3.47, 0.26, 0.26, 1, 34, 0, 0.52)
A(reference, L35_0, 34.74, 3.47, 0.26, 0.26, 1, 34, 0, 0.52)
A(reference, L35_0, 63.66, 8.68, 0.26, 0.26, 1, 7, 0, 0.52)
A(reference, L35_0, 73.22, 8.68, 0.26, 0.26, 1, 7, 0, 0.52)
A(reference, L35_0, 73.26, 16.17, 0.26, 0.26, 1, 6, 0, 0.52)
A(reference, L35_0, 47.22, 24.88, 0.26, 0.26, 1, 3, 0, 0.52)
A(reference, L35_0, 62.19, 24.88, 0.26, 0.26, 1, 3, 0, 0.52)
A(reference, L35_0, 64.635, 26.25, 0.26, 0.26, 7, 1, 0.52, 0)
A(reference, L35_0, 69.155, 26.25, 0.26, 0.26, 7, 1, 0.52, 0)
R(reference, L35_0, [(65.985,1.73,66.245,1.99), (59.73,14.24,59.99,14.5), (63.66,16.17,63.92,16.43), (63.66,16.17,63.92,16.43), (63.66,16.69,63.92,16.95), (63.66,16.69,63.92,16.95), (63.66,17.21,63.92,17.47), (63.66,17.21,63.92,17.47), (63.66,17.73,63.92,17.99), (63.66,17.73,63.92,17.99), (63.66,18.25,63.92,18.51), (63.66,18.25,63.92,18.51), (63.66,18.77,63.92,19.03), (63.66,18.77,63.92,19.03), (44.41,23.24,44.67,23.5), (5.18,27.02,5.44,27.28), (16.1,27.02,16.36,27.28), (16.89,27.02,17.15,27.28), (17.66,27.02,17.92,27.28)])
R(reference, L36_0, [(57.92,-0.82,58.3,14.56), (13.33,0,14.33,1.44), (71.15,0,72.55,2.05), (71.15,0,75.55,0.38), (13.33,0.94,14.33,21.14), (65.715,1.61,66.515,2.11), (59.67,2.55,68.76,6.08), (13.64,2.92,14.02,21.14), (34.68,2.92,35.06,21.14), (63.595,8.53,63.975,20.29), (73.155,8.53,73.575,20.29), (57.92,14.18,60.05,14.56), (4.83,20.14,5.83,27.58), (4.83,20.14,35.06,21.14), (13.33,20.14,35.06,21.14), (13.64,20.14,35.06,21.14), (44.27,23.1,44.81,23.64), (46.9,24.73,62.56,26.31), (64.605,26.13,72.565,26.63)])
R(reference, L38_0, [(65.985,1.73,66.245,1.99), (73.24,13.48,73.5,13.74), (22.85,20.25,23.11,20.51), (23.37,20.25,23.63,20.51), (22.85,20.77,23.11,21.03), (23.37,20.77,23.63,21.03), (44.41,23.24,44.67,23.5), (16.1,27.02,16.36,27.28), (16.89,27.02,17.15,27.28), (17.66,27.02,17.92,27.28)])
R(reference, L40_0, [(65.985,1.73,66.245,1.99), (22.85,20.25,23.11,20.51), (23.37,20.25,23.63,20.51), (22.85,20.77,23.11,21.03), (23.37,20.77,23.63,21.03), (16.1,27.02,16.36,27.28), (16.89,27.02,17.15,27.28), (17.66,27.02,17.92,27.28)])
R(reference, L41_0, [(22.85,20.25,23.11,20.51), (23.37,20.25,23.63,20.51), (22.85,20.77,23.11,21.03), (23.37,20.77,23.63,21.03)])
R(reference, L42_0, [(65.715,1.61,66.515,2.11), (44.33,13.4,73.575,13.82), (44.33,13.4,44.75,23.64), (22.54,20.14,23.94,21.14), (44.27,23.1,44.81,23.64), (16.06,26.96,17.98,27.34)])
R(reference, L46_0, [(65.715,1.61,66.515,2.11), (65.81,1.61,66.41,27.34), (16.06,15.04,17.98,26.96), (22.54,20.14,23.94,21.14), (16.06,26.74,66.41,27.34), (16.06,26.96,17.98,27.34)])
R(reference, L55_0, [(0.2,0,76.48,26.08), (61.21,0,76.48,29.62), (49.45,1.68,60.96,24.53)])
R(reference, L81_0, [(22.54,13.44,23.94,21.14), (22.54,20.14,23.94,21.14)])
reference.add(gdstk.Reference(pfet, (3.26,2.8)))
reference.add(gdstk.Reference(nfet, (64,2.34)))
r = gdstk.Reference(c_ppolyf_u_high_rs_resisto, (5.77,26.65)); r.repetition = gdstk.Repetition(1, 1, v1=(0,0), v2=(0,0)); reference.add(r)
r = gdstk.Reference(c_ppolyf_u_high_rs_resisto_, (42.25,27.65), rotation=pi); r.repetition = gdstk.Repetition(1, 1, v1=(0,0), v2=(0,0)); reference.add(r)
r = gdstk.Reference(pfet_2, (59.63,27.21), rotation=pi); r.repetition = gdstk.Repetition(1, 1, v1=(0,0), v2=(0,0)); reference.add(r)
reference.add(gdstk.Reference(cap_mim, (12.94,3.44)))
reference.add(gdstk.Reference(pfet_1, (64.02,15.89)))

top = lib.new_cell('TOP')
R(top, L34_0, [(8.54,-13.05,9.22,1.7), (23.76,-13.05,29.63,-12.37), (28.95,-13.05,29.63,8.08), (-5.9,0.7,-4.9,5.21), (-8.06,4.21,-4.9,5.21), (28.95,7.08,31.31,8.08), (-11.06,21.97,-8.06,36.42), (-2.86,21.97,0.14,36.42), (12.55,26.57,17.81,37.18), (-23.28,30.97,-22.28,34.28), (-8.06,33.22,-2.86,35.52)])
A(top, L35_0, -2.42, 22.24, 0.26, 0.26, 4, 5, 0.64, 0.64)
A(top, L35_0, -1.78, 25.44, 0.26, 0.26, 3, 1, 0.64, 0)
A(top, L35_0, 12.8, 26.84, 0.26, 0.26, 4, 5, 0.64, 0.64)
A(top, L35_0, 15.4, 26.84, 0.26, 0.26, 4, 5, 0.64, 0.64)
A(top, L35_0, 13.44, 30.04, 0.26, 0.26, 3, 1, 0.64, 0)
A(top, L35_0, 16.04, 30.04, 0.26, 0.26, 3, 1, 0.64, 0)
R(top, L35_0, [(-2.44,25.44,-2.18,25.7), (12.78,30.04,13.04,30.3), (15.38,30.04,15.64,30.3), (-23.15,31.03,-22.89,31.29), (-23.15,31.03,-22.89,31.29), (-22.67,31.03,-22.41,31.29), (-22.67,31.03,-22.41,31.29), (-23.15,33.96,-22.89,34.22), (-22.67,33.96,-22.41,34.22)])
R(top, L36_0, [(-7.06,-14.59,-5.32,-14.21), (38.3,-14.59,45.77,-14.21), (45.39,-14.59,45.77,31.35), (-7.06,-13.81,-5.32,-13.43), (-59.12,21.97,-40.64,25.97), (-7.06,21.97,-5.32,25.97), (-59.12,26.57,-40.64,30.57), (-7.06,26.57,-5.32,30.57), (-7.06,30.97,-5.32,31.35), (38.3,30.97,45.77,31.35), (-7.06,31.75,-5.32,32.13), (21.19,31.75,21.57,33.8), (-23.28,33.91,-22.28,36.06)])
r = gdstk.Reference(inputbuffer, (45.26,-0.06)); r.repetition = gdstk.Repetition(1, 1, v1=(0,0), v2=(0,0)); top.add(r)
r = gdstk.Reference(gainstage, (0.96,-0.06)); r.repetition = gdstk.Repetition(1, 1, v1=(0,0), v2=(0,0)); top.add(r)
r = gdstk.Reference(gainstage, (15.5,-0.06)); r.repetition = gdstk.Repetition(1, 1, v1=(0,0), v2=(0,0)); top.add(r)
r = gdstk.Reference(outputbuffer, (-23,-10.81)); r.repetition = gdstk.Repetition(1, 1, v1=(0,0), v2=(0,0)); top.add(r)
r = gdstk.Reference(reference, (-36.61,34.62)); r.repetition = gdstk.Repetition(1, 1, v1=(0,0), v2=(0,0)); top.add(r)
top.add(gdstk.Label('iDAC', (17.95,47.56), layer=34, texttype=10))
top.add(gdstk.Label('Tbias', (-22.99,33.3), layer=34, texttype=10))
top.add(gdstk.Label('GND', (-56.82,27.64), layer=34, texttype=10))
top.add(gdstk.Label('VDD', (-56.81,23.15), layer=34, texttype=10))
top.add(gdstk.Label('Input', (48.53,-12.28), layer=34, texttype=10))
top.add(gdstk.Label('Output', (-38.65,-12.26), layer=34, texttype=10))
top.add(gdstk.Label('BandGap', (37.95,34.8), layer=36, texttype=10))
top.add(gdstk.Label('vDAC', (-35.42,-13.64), layer=36, texttype=10))

lib.write_gds('TOP.gds')
